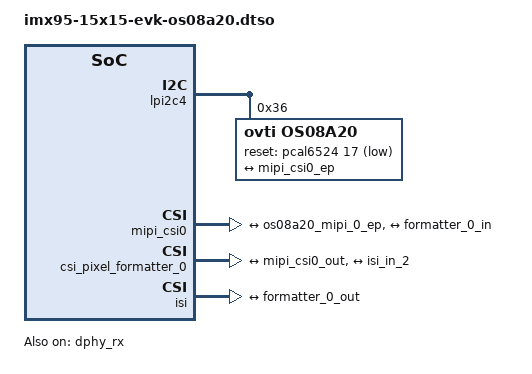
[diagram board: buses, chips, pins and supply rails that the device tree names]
// SPDX-License-Identifier: (GPL-2.0+ OR MIT)
/*
 * Copyright 2024 NXP
 */

/dts-v1/;
/plugin/;

#include <dt-bindings/gpio/gpio.h>

&lpi2c4 {
	#address-cells = <1>;
	#size-cells = <0>;
	status = "okay";

	os08a20: os08a20_mipi@36 {
		compatible = "ovti,os08a20";
		reg = <0x36>;
		reset-gpios = <&pcal6524 17 GPIO_ACTIVE_LOW>;
		orientation = <2>;
		rotation = <0>;
		status = "okay";

		port {
			os08a20_mipi_0_ep: endpoint {
				remote-endpoint = <&mipi_csi0_ep>;
				data-lanes = <1 2 3 4>;
				clock-lanes = <0>;
			};
		};
	};
};

&dphy_rx {
	status = "okay";
};

&mipi_csi0 {
	status = "okay";

	ports {
		#address-cells = <1>;
		#size-cells = <0>;

		port@0 {
			reg = <0>;
			mipi_csi0_ep: endpoint {
				remote-endpoint = <&os08a20_mipi_0_ep>;
				data-lanes = <1 2 3 4>;
				clock-lanes = <0>;
			};
		};

		port@1 {
			reg = <1>;
				mipi_csi0_out: endpoint {
				remote-endpoint = <&formatter_0_in>;
			};
		};
	};
};

&csi_pixel_formatter_0 {
	status = "okay";

	ports {
		#address-cells = <1>;
		#size-cells = <0>;

		port@0 {
			reg = <0>;

			formatter_0_in: endpoint {
				remote-endpoint = <&mipi_csi0_out>;
			};
		};

		port@1 {
			reg = <1>;

			formatter_0_out: endpoint {
				remote-endpoint = <&isi_in_2>;
			};
		};
	};
};

&isi {
	status = "okay";

	ports {
		#address-cells = <1>;
		#size-cells = <0>;

		port@2 {
			reg = <2>;

			isi_in_2: endpoint {
				remote-endpoint = <&formatter_0_out>;
			};
		};
	};
};
